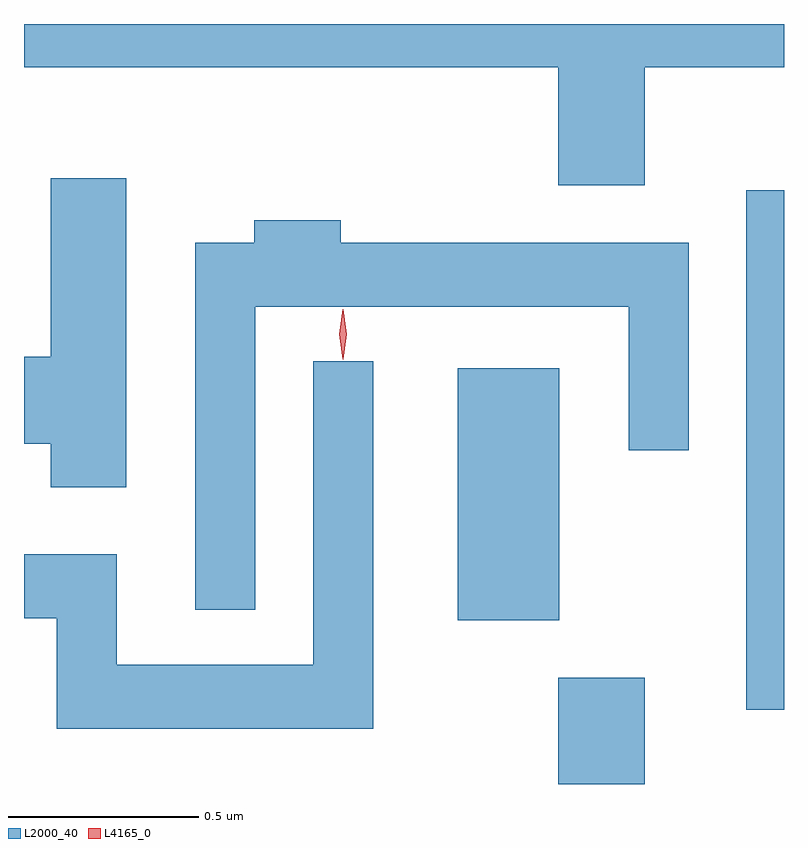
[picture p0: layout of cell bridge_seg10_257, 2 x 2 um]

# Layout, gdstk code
import gdstk
lib = gdstk.Library(unit=1e-6, precision=1e-09)
def R(c, l, rs):  # rectangles x0, y0, x1, y1
    for r in rs: c.add(gdstk.rectangle(r[:2], r[2:], *l))
def P(c, l, *ps):  # polygons
    for p in ps: c.add(gdstk.Polygon(p, *l))
L2000_40 = (2000, 40)
L4165_0 = (4165, 0)

bridge_seg10_257 = lib.new_cell('bridge_seg10_257')
R(bridge_seg10_257, L2000_40, [(1719.571,2096.49,1719.799,2096.769), (1720.066,2096.686,1720.165,2098.053), (1719.306,2096.921,1719.574,2097.584)])
P(bridge_seg10_257, L2000_40, [(1719.799,2098.376),(1720.165,2098.376),(1720.165,2098.49),(1718.165,2098.49),(1718.165,2098.376),(1719.571,2098.376),(1719.571,2098.066),(1719.799,2098.066)],
  [(1718.434,2098.084),(1718.236,2098.084),(1718.236,2097.614),(1718.165,2097.614),(1718.165,2097.386),(1718.236,2097.386),(1718.236,2097.271),(1718.434,2097.271)],
  [(1718.774,2097.746),(1719.756,2097.746),(1719.756,2097.368),(1719.914,2097.368),(1719.914,2097.914),(1718.999,2097.914),(1718.999,2097.974),(1718.771,2097.974),(1718.771,2097.914),(1718.616,2097.914),(1718.616,2096.948),(1718.774,2096.948)],
  [(1719.084,2097.603),(1718.926,2097.603),(1718.926,2096.804),(1718.409,2096.804),(1718.409,2097.094),(1718.165,2097.094),(1718.165,2096.926),(1718.251,2096.926),(1718.251,2096.636),(1719.084,2096.636)])
P(bridge_seg10_257, L4165_0, [(1719.005,2097.607),(1719.004,2097.608),(1718.994,2097.674),(1719.004,2097.74),(1719.004,2097.74),(1719.005,2097.74),(1719.014,2097.674),(1719.005,2097.608)])

lib.write_gds('bridge_seg10_257.gds')
